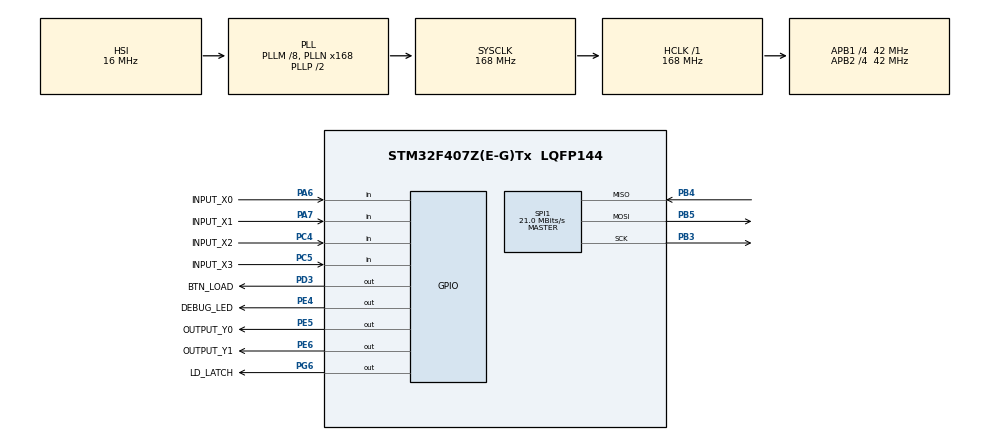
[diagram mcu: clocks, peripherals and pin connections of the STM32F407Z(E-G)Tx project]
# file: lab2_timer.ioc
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Mcu.Family=STM32F4
Mcu.Name=STM32F407Z(E-G)Tx
Mcu.Package=LQFP144
NVIC.PriorityGroup=NVIC_PRIORITYGROUP_4
NVIC.TIM2_IRQn=true\:0\:0\:false\:false\:true\:true\:true
PA13.Mode=Serial_Wire
PA13.Signal=SYS_JTMS-SWDIO
PA14.Mode=Serial_Wire
PA14.Signal=SYS_JTCK-SWCLK
PA6.GPIO_Label=INPUT_X0
PA6.Signal=GPIO_Input
PA7.GPIO_Label=INPUT_X1
PA7.Signal=GPIO_Input
PB3.Mode=Full_Duplex_Master
PB3.Signal=SPI1_SCK
PB4.Mode=Full_Duplex_Master
PB4.Signal=SPI1_MISO
PB5.Mode=Full_Duplex_Master
PB5.Signal=SPI1_MOSI
PC4.GPIO_Label=INPUT_X2
PC4.Signal=GPIO_Input
PC5.GPIO_Label=INPUT_X3
PC5.Signal=GPIO_Input
PD3.GPIO_Label=BTN_LOAD
PD3.Signal=GPIO_Output
PE4.GPIO_Label=DEBUG_LED
PE4.Signal=GPIO_Output
PE5.GPIO_Label=OUTPUT_Y0
PE5.Signal=GPIO_Output
PE6.GPIO_Label=OUTPUT_Y1
PE6.Signal=GPIO_Output
PG6.GPIO_Label=LD_LATCH
PG6.Signal=GPIO_Output
PH0-OSC_IN.Mode=HSE-External-Oscillator
PH0-OSC_IN.Signal=RCC_OSC_IN
PH1-OSC_OUT.Mode=HSE-External-Oscillator
PH1-OSC_OUT.Signal=RCC_OSC_OUT
ProjectManager.HeapSize=0x200
ProjectManager.StackSize=0x400
ProjectManager.TargetToolchain=STM32CubeIDE
RCC.48MHZClocksFreq_Value=84000000
RCC.AHBFreq_Value=168000000
RCC.APB1CLKDivider=RCC_HCLK_DIV4
RCC.APB1Freq_Value=42000000
RCC.APB1TimFreq_Value=84000000
RCC.APB2CLKDivider=RCC_HCLK_DIV4
RCC.APB2Freq_Value=42000000
RCC.APB2TimFreq_Value=84000000
RCC.CortexFreq_Value=168000000
RCC.HCLKFreq_Value=168000000
RCC.HSE_VALUE=8000000
RCC.HSI_VALUE=16000000
RCC.LSE_VALUE=32768
RCC.PLLM=8
RCC.PLLN=168
RCC.SYSCLKFreq_VALUE=168000000
RCC.SYSCLKSource=RCC_SYSCLKSOURCE_PLLCLK
RCC.VCOOutputFreq_Value=336000000
SPI1.CalculateBaudRate=21.0 MBits/s
SPI1.Direction=SPI_DIRECTION_2LINES
SPI1.Mode=SPI_MODE_MASTER
SPI1.VirtualType=VM_MASTER
TIM2.Period=100-1
TIM2.Prescaler=840-1
VP_TIM2_VS_ClockSourceINT.Mode=Internal
board=custom

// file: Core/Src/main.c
/* USER CODE BEGIN Header */
/**
  ******************************************************************************
  * @file           : main.c
  * @brief          : Main program body
  ******************************************************************************
  * @attention
  *
  * <h2><center>&copy; Copyright (c) 2024 STMicroelectronics.
  * All rights reserved.</center></h2>
  *
  * This software component is licensed by ST under BSD 3-Clause license,
  * the "License"; You may not use this file except in compliance with the
  * License. You may obtain a copy of the License at:
  *                        opensource.org/licenses/BSD-3-Clause
  *
  ******************************************************************************
  */
/* USER CODE END Header */
#include "main.h"
#include "spi.h"
#include "tim.h"
#include "gpio.h"
/* USER CODE BEGIN Includes */
#include "software_timer.h"
#include "led_7seg.h"

/* USER CODE END Includes */

SPI_HandleTypeDef hspi1;

TIM_HandleTypeDef htim2;

void SystemClock_Config(void);
//static void MX_GPIO_Init(void);
//static void MX_TIM2_Init(void);
//static void MX_SPI1_Init(void);
/* USER CODE BEGIN PFP */
void system_init();
void test_LedDebug();
void test_LedY0();
void test_LedY1();
void test_7seg();
/* USER CODE END PFP */

int main(void)
{

  /* MCU Configuration--------------------------------------------------------*/

  /* Reset of all peripherals, Initializes the Flash interface and the Systick. */
  HAL_Init();

  /* Configure the system clock */
  SystemClock_Config();

  /* Initialize all configured peripherals */
  MX_GPIO_Init();
  MX_TIM2_Init();
  MX_SPI1_Init();
  /* USER CODE BEGIN 2 */
  system_init();
  led7_SetColon(1);
  /* USER CODE END 2 */

  /* Infinite loop */
  /* USER CODE BEGIN WHILE */
  led7_SetDigit(1, 0, 0);
  led7_SetDigit(5, 1, 0);
  led7_SetDigit(4, 2, 0);
  led7_SetDigit(7, 3, 0);
  test_7seg();
  setTimer2(1000);
  int state = 1;
  while (1)
  {
	  switch(state) {
	  	  case 1:
	  		  if (flag_timer2) {
	  			  led7_SetDigit(7, 0, 0);
	  			  led7_SetDigit(1, 1, 0);
	  			  led7_SetDigit(5, 2, 0);
	  			  led7_SetDigit(4, 3, 0);
	  			  state = 2;
	  			  setTimer2(1000);
	  		  }
	  		  break;
	  	  case 2:
	  		  if (flag_timer2) {
				  led7_SetDigit(4, 0, 0);
				  led7_SetDigit(7, 1, 0);
				  led7_SetDigit(1, 2, 0);
				  led7_SetDigit(5, 3, 0);
				  state = 3;
				  setTimer2(1000);
			  }
	  		  break;
	  	  case 3:
	  		  if (flag_timer2) {
				  led7_SetDigit(5, 0, 0);
				  led7_SetDigit(4, 1, 0);
				  led7_SetDigit(7, 2, 0);
				  led7_SetDigit(1, 3, 0);
				  state = 4;
				  setTimer2(1000);
			  }
	  		  break;
	  	  case 4:
	  		  if (flag_timer2) {
	  			  led7_SetDigit(1, 0, 0);
	  			  led7_SetDigit(5, 1, 0);
	  			  led7_SetDigit(4, 2, 0);
	  			  led7_SetDigit(7, 3, 0);
				  state = 1;
				  setTimer2(1000);
			  }
	  		  break;
	  	  default:
	  		  state = 1;
	  		  break;
	  }
    /* USER CODE END WHILE */

  }
}

void SystemClock_Config(void)
{
  RCC_OscInitTypeDef RCC_OscInitStruct = {0};
  RCC_ClkInitTypeDef RCC_ClkInitStruct = {0};

  /** Configure the main internal regulator output voltage
  */
  __HAL_RCC_PWR_CLK_ENABLE();
  __HAL_PWR_VOLTAGESCALING_CONFIG(PWR_REGULATOR_VOLTAGE_SCALE1);
  /** Initializes the RCC Oscillators according to the specified parameters
  * in the RCC_OscInitTypeDef structure.
  */
  RCC_OscInitStruct.OscillatorType = RCC_OSCILLATORTYPE_HSI;
  RCC_OscInitStruct.HSIState = RCC_HSI_ON;
  RCC_OscInitStruct.HSICalibrationValue = RCC_HSICALIBRATION_DEFAULT;
  RCC_OscInitStruct.PLL.PLLState = RCC_PLL_ON;
  RCC_OscInitStruct.PLL.PLLSource = RCC_PLLSOURCE_HSI;
  RCC_OscInitStruct.PLL.PLLM = 8;
  RCC_OscInitStruct.PLL.PLLN = 168;
  RCC_OscInitStruct.PLL.PLLP = RCC_PLLP_DIV2;
  RCC_OscInitStruct.PLL.PLLQ = 4;
  if (HAL_RCC_OscConfig(&RCC_OscInitStruct) != HAL_OK)
  {
    Error_Handler();
  }
  /** Initializes the CPU, AHB and APB buses clocks
  */
  RCC_ClkInitStruct.ClockType = RCC_CLOCKTYPE_HCLK|RCC_CLOCKTYPE_SYSCLK
                              |RCC_CLOCKTYPE_PCLK1|RCC_CLOCKTYPE_PCLK2;
  RCC_ClkInitStruct.SYSCLKSource = RCC_SYSCLKSOURCE_PLLCLK;
  RCC_ClkInitStruct.AHBCLKDivider = RCC_SYSCLK_DIV1;
  RCC_ClkInitStruct.APB1CLKDivider = RCC_HCLK_DIV4;
  RCC_ClkInitStruct.APB2CLKDivider = RCC_HCLK_DIV4;

  if (HAL_RCC_ClockConfig(&RCC_ClkInitStruct, FLASH_LATENCY_5) != HAL_OK)
  {
    Error_Handler();
  }
}

static void MX_SPI1_Init(void)
{

  /* SPI1 parameter configuration*/
  hspi1.Instance = SPI1;
  hspi1.Init.Mode = SPI_MODE_MASTER;
  hspi1.Init.Direction = SPI_DIRECTION_2LINES;
  hspi1.Init.DataSize = SPI_DATASIZE_8BIT;
  hspi1.Init.CLKPolarity = SPI_POLARITY_LOW;
  hspi1.Init.CLKPhase = SPI_PHASE_1EDGE;
  hspi1.Init.NSS = SPI_NSS_SOFT;
  hspi1.Init.BaudRatePrescaler = SPI_BAUDRATEPRESCALER_2;
  hspi1.Init.FirstBit = SPI_FIRSTBIT_MSB;
  hspi1.Init.TIMode = SPI_TIMODE_DISABLE;
  hspi1.Init.CRCCalculation = SPI_CRCCALCULATION_DISABLE;
  hspi1.Init.CRCPolynomial = 10;
  if (HAL_SPI_Init(&hspi1) != HAL_OK)
  {
    Error_Handler();
  }

}

static void MX_TIM2_Init(void)
{

  TIM_ClockConfigTypeDef sClockSourceConfig = {0};
  TIM_MasterConfigTypeDef sMasterConfig = {0};

  htim2.Instance = TIM2;
  htim2.Init.Prescaler = 840-1;
  htim2.Init.CounterMode = TIM_COUNTERMODE_UP;
  htim2.Init.Period = 100-1;
  htim2.Init.ClockDivision = TIM_CLOCKDIVISION_DIV1;
  htim2.Init.AutoReloadPreload = TIM_AUTORELOAD_PRELOAD_DISABLE;
  if (HAL_TIM_Base_Init(&htim2) != HAL_OK)
  {
    Error_Handler();
  }
  sClockSourceConfig.ClockSource = TIM_CLOCKSOURCE_INTERNAL;
  if (HAL_TIM_ConfigClockSource(&htim2, &sClockSourceConfig) != HAL_OK)
  {
    Error_Handler();
  }
  sMasterConfig.MasterOutputTrigger = TIM_TRGO_RESET;
  sMasterConfig.MasterSlaveMode = TIM_MASTERSLAVEMODE_DISABLE;
  if (HAL_TIMEx_MasterConfigSynchronization(&htim2, &sMasterConfig) != HAL_OK)
  {
    Error_Handler();
  }

}

static void MX_GPIO_Init(void)
{
  GPIO_InitTypeDef GPIO_InitStruct = {0};

  /* GPIO Ports Clock Enable */
  __HAL_RCC_GPIOE_CLK_ENABLE();
  __HAL_RCC_GPIOH_CLK_ENABLE();
  __HAL_RCC_GPIOA_CLK_ENABLE();
  __HAL_RCC_GPIOC_CLK_ENABLE();
  __HAL_RCC_GPIOG_CLK_ENABLE();
  __HAL_RCC_GPIOD_CLK_ENABLE();
  __HAL_RCC_GPIOB_CLK_ENABLE();

  /*Configure GPIO pin Output Level */
  HAL_GPIO_WritePin(GPIOE, DEBUG_LED_Pin|OUTPUT_Y0_Pin|OUTPUT_Y1_Pin, GPIO_PIN_RESET);

  /*Configure GPIO pin Output Level */
  HAL_GPIO_WritePin(LD_LATCH_GPIO_Port, LD_LATCH_Pin, GPIO_PIN_RESET);

  /*Configure GPIO pin Output Level */
  HAL_GPIO_WritePin(BTN_LOAD_GPIO_Port, BTN_LOAD_Pin, GPIO_PIN_RESET);

  /*Configure GPIO pins : DEBUG_LED_Pin OUTPUT_Y0_Pin OUTPUT_Y1_Pin */
  GPIO_InitStruct.Pin = DEBUG_LED_Pin|OUTPUT_Y0_Pin|OUTPUT_Y1_Pin;
  GPIO_InitStruct.Mode = GPIO_MODE_OUTPUT_PP;
  GPIO_InitStruct.Pull = GPIO_NOPULL;
  GPIO_InitStruct.Speed = GPIO_SPEED_FREQ_LOW;
  HAL_GPIO_Init(GPIOE, &GPIO_InitStruct);

  /*Configure GPIO pins : INPUT_X0_Pin INPUT_X1_Pin */
  GPIO_InitStruct.Pin = INPUT_X0_Pin|INPUT_X1_Pin;
  GPIO_InitStruct.Mode = GPIO_MODE_INPUT;
  GPIO_InitStruct.Pull = GPIO_NOPULL;
  HAL_GPIO_Init(GPIOA, &GPIO_InitStruct);

  /*Configure GPIO pins : INPUT_X2_Pin INPUT_X3_Pin */
  GPIO_InitStruct.Pin = INPUT_X2_Pin|INPUT_X3_Pin;
  GPIO_InitStruct.Mode = GPIO_MODE_INPUT;
  GPIO_InitStruct.Pull = GPIO_NOPULL;
  HAL_GPIO_Init(GPIOC, &GPIO_InitStruct);

  /*Configure GPIO pin : LD_LATCH_Pin */
  GPIO_InitStruct.Pin = LD_LATCH_Pin;
  GPIO_InitStruct.Mode = GPIO_MODE_OUTPUT_PP;
  GPIO_InitStruct.Pull = GPIO_NOPULL;
  GPIO_InitStruct.Speed = GPIO_SPEED_FREQ_LOW;
  HAL_GPIO_Init(LD_LATCH_GPIO_Port, &GPIO_InitStruct);

  /*Configure GPIO pin : BTN_LOAD_Pin */
  GPIO_InitStruct.Pin = BTN_LOAD_Pin;
  GPIO_InitStruct.Mode = GPIO_MODE_OUTPUT_PP;
  GPIO_InitStruct.Pull = GPIO_NOPULL;
  GPIO_InitStruct.Speed = GPIO_SPEED_FREQ_LOW;
  HAL_GPIO_Init(BTN_LOAD_GPIO_Port, &GPIO_InitStruct);

}

/* USER CODE BEGIN 4 */
void system_init(){
	  HAL_GPIO_WritePin(OUTPUT_Y0_GPIO_Port, OUTPUT_Y0_Pin, 0);
	  HAL_GPIO_WritePin(OUTPUT_Y1_GPIO_Port, OUTPUT_Y1_Pin, 0);
	  HAL_GPIO_WritePin(DEBUG_LED_GPIO_Port, DEBUG_LED_Pin, 0);
	  timer_init();
	  led7_init();
//	  setTimer2(50);
}

uint8_t count_led_debug = 0;
uint8_t count_led_Y0 = 0;
uint8_t count_led_Y1 = 0;

void test_LedDebug(){
	count_led_debug = (count_led_debug + 1)%20;
	if(count_led_debug == 0){
		HAL_GPIO_TogglePin(DEBUG_LED_GPIO_Port, DEBUG_LED_Pin);
	}
}

void test_LedY0(){
	count_led_Y0 = (count_led_Y0+ 1)%100;
	if(count_led_Y0 > 40){
		HAL_GPIO_WritePin(OUTPUT_Y0_GPIO_Port, OUTPUT_Y0_Pin, 1);
	} else {
		HAL_GPIO_WritePin(OUTPUT_Y0_GPIO_Port, OUTPUT_Y0_Pin, 0);
	}
}

void test_LedY1(){
	count_led_Y1 = (count_led_Y1+ 1)%40;
	if(count_led_Y1 > 10){
		HAL_GPIO_WritePin(OUTPUT_Y1_GPIO_Port, OUTPUT_Y1_Pin, 0);
	} else {
		HAL_GPIO_WritePin(OUTPUT_Y0_GPIO_Port, OUTPUT_Y1_Pin, 1);
	}
}

void test_7seg(){
	//write number1 at led index 0 (not show dot)
	led7_SetDigit(1, 0, 0);
	led7_SetDigit(5, 1, 0);
	led7_SetDigit(4, 2, 0);
	led7_SetDigit(7, 3, 0);
}
/* USER CODE END 4 */

void Error_Handler(void)
{
  __disable_irq();
  while (1)
  {
  }
}

/************************ (C) COPYRIGHT STMicroelectronics *****END OF FILE****/
